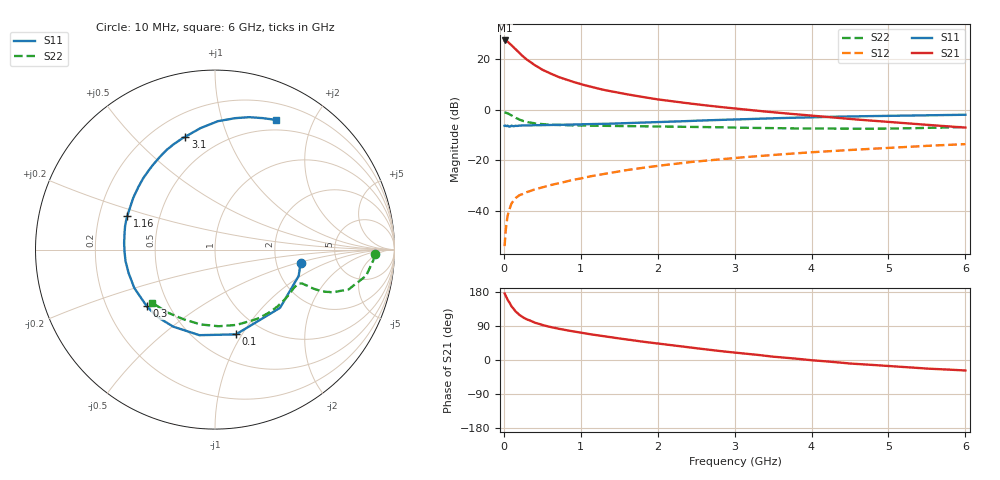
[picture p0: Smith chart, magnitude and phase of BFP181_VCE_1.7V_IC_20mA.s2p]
! Infineon Technologies  Discrete & RF Semiconductors
! BFP181
! VCE = 1.7 V,  IC =  20 mA
! Common Emitter S-Parameters:  Jan 2016
# GHz  S  MA  R  50
!  f  S11  S21  S12  S22
! GHz  MAG  ANG  MAG  ANG  MAG  ANG  MAG  ANG
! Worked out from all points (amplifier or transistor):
!   210 points, 10 MHz to 6 GHz, reference 50 ohm
!   highest |S21| = 27.5 dB at 10 MHz (marker M1)
!   |S21| within 3 dB of that: start of sweep to 136.7 MHz
!   unconditionally stable (mu >= 1): start of sweep to 23.41 MHz; 296.5 MHz to end of sweep
!   at 185 MHz: K = 0.73, MSG = 28.6 dB, |S12| = -34.2 dB
!   at 1.52 GHz: K = 1.89, MAG = 10.0 dB, |S12| = -24.3 dB
!   at 6 GHz: K = 1.46, MAG = -0.7 dB, |S12| = -13.6 dB
!   S11 on the Smith chart (normalised r, x): 10 MHz: 2.74, -0.55; 100 MHz: 0.76, -0.94; 300 MHz: 0.38, -0.31; 1.16 GHz: 0.32, +0.16; 3.1 GHz: 0.33, +0.72; 6 GHz: 0.38, +1.51
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0.01  0.4826 -9.1  23.62 175.6  0.002 72.4  0.8893 -1.7
0.02  0.4888 -17.5  23.55 171.5  0.0034 72.1  0.8839 -3.9
0.05  0.4863 -41.8  22.39 158.8  0.0081 74.3  0.8546 -9.8
0.1  0.4866 -76.1  19.09 141.5  0.014 60.5  0.7768 -16.6
0.15  0.4846 -100.3  15.98 128.6  0.0177 54.3  0.6983 -19.9
0.2  0.4881 -118.3  13.43 119.3  0.0203 50.1  0.6425 -21.3
0.24  0.4915 -128.5  11.76 113.8  0.0214 48.2  0.609 -21.5
0.26  0.4935 -132.9  11.05 111.3  0.0221 47.6  0.5952 -21.6
0.3  0.4939 -140.5  9.844 107.1  0.0235 47.0  0.5735 -21.6
0.4  0.4979 -154.5  7.699 98.6  0.0265 47.9  0.5394 -21.3
0.5  0.4989 -164.9  6.232 92.3  0.029 48.9  0.5206 -21.3
0.6  0.5026 -172.7  5.282 87.3  0.0322 50.2  0.5082 -21.8
0.7  0.5043 -178.9  4.53 82.9  0.0346 52.1  0.501 -22.5
0.8  0.5076 175.9  4.013 79.0  0.0377 53.6  0.4964 -23.4
1.02  0.5181 164.8  3.161 71.3  0.0445 54.9  0.4883 -26.0
1.16  0.5228 159.2  2.792 67.0  0.0493 55.6  0.4857 -27.9
1.5  0.5394 147.5  2.162 56.8  0.0605 56.2  0.4801 -33.1
2.02  0.5722 131.3  1.596 42.9  0.0784 54.6  0.4706 -42.4
3.1  0.6505 104.7  1.028 17.6  0.1146 47.8  0.4424 -64.7
4.1  0.7197 87.2  0.744 -2.1  0.1477 39.9  0.425 -89.9
5.1  0.7649 74.4  0.561 -17.2  0.1798 31.6  0.4268 -116.9
6  0.7988 64.8  0.445 -27.7  0.2092 23.1  0.4587 -139.9
